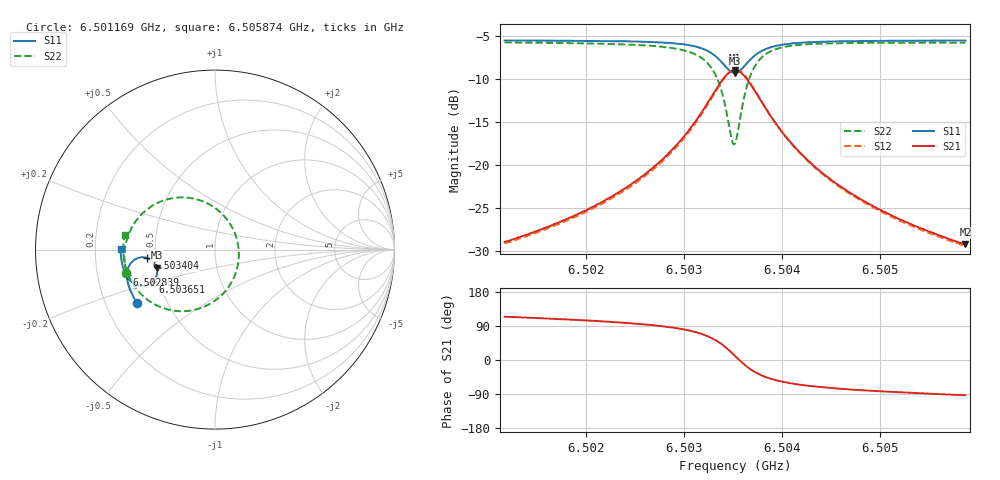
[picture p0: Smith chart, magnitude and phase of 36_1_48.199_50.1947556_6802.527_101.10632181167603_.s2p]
#  HZ  S  RI  R  50.00
! Rohde & Schwarz Vector Network Analyzer
! Rohde-Schwarz,ZNB20-2Port,1311601062101988,3.16
! Created: UTC 3/20/2024, 11:37:39 AM
! freq[Hz]  re:S11  im:S11  re:S21  im:S21  re:S12  im:S12  re:S22  im:S22
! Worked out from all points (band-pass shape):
!   401 points, 6.501169 GHz to 6.505874 GHz, reference 50 ohm
!   highest |S21| = -9.02 dB at 6.503522 GHz (marker M1); lowest = -29.2 dB at 6.505874 GHz (marker M2)
!   |S21| within 3 dB of the highest: 6.503286 GHz to 6.503757 GHz (470.8 kHz wide, 0.00724 % of centre)
!   lowest |S11| = -9.3 dB at 6.503522 GHz (marker M3), VSWR 2.03, Z = 25 - j5.66 ohm
!   |S11| at or under -10 dB: nowhere
!   |S22| runs from -17.6 to -5.8 dB; largest |S21 - S12| = 0.012
!   S11 on the Smith chart (normalised r, x): 6.501169 GHz: 0.34, -0.27; 6.502839 GHz: 0.33, -0.12; 6.503404 GHz: 0.45, -0.05; 6.503651 GHz: 0.46, -0.20; 6.505874 GHz: 0.31, +0.00
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6.5011692e9  -0.4361 -0.2948  -0.0148 0.0327  -0.013 0.0327  -0.4953 -0.1331
6.5019573e9  -0.4685 -0.2346  -0.0137 0.0514  -0.0113 0.0509  -0.5047 -0.0452
6.5023925e9  -0.483 -0.1943  -0.0103 0.0721  -0.00725 0.0708  -0.4989 0.0207
6.5027454e9  -0.4904 -0.1531  -0.000296 0.1034  0.00341 0.1007  -0.4762 0.0973
6.5028395e9  -0.4907 -0.1397  0.00567 0.116  0.00943 0.1129  -0.4631 0.1241
6.5030395e9  -0.4847 -0.105  0.0311 0.1529  0.0345 0.148  -0.4108 0.195
6.5031806e9  -0.4681 -0.0744  0.0728 0.1881  0.0754 0.1818  -0.3293 0.2553
6.50331e9  -0.4302 -0.0473  0.1539 0.2141  0.1543 0.2078  -0.1822 0.2909
6.5034041e9  -0.3815 -0.0454  0.2492 0.1959  0.2491 0.1912  -0.017 0.2435
6.5034864e9  -0.337 -0.0767  0.3301 0.117  0.3327 0.113  0.1122 0.0876
6.5035217e9  -0.3258 -0.1  0.3479 0.0659  0.3519 0.0604  0.1329 -0.00883
6.5035453e9  -0.3228 -0.1172  0.3511 0.0298  0.3554 0.0227  0.1296 -0.0753
6.5035805e9  -0.3253 -0.1423  0.3429 -0.0226  0.3467 -0.0319  0.0995 -0.1683
6.5036511e9  -0.3487 -0.1812  0.2932 -0.1015  0.2933 -0.1137  -0.0173 -0.2959
6.5037452e9  -0.3911 -0.2015  0.2114 -0.146  0.2062 -0.1567  -0.1843 -0.3434
6.5038158e9  -0.4182 -0.2018  0.1617 -0.151  0.1547 -0.1593  -0.2771 -0.3295
6.5038981e9  -0.4422 -0.1944  0.1199 -0.1445  0.1121 -0.1502  -0.3508 -0.2965
6.5040628e9  -0.472 -0.1734  0.07 -0.1223  0.0633 -0.125  -0.4316 -0.2266
6.5043098e9  -0.4951 -0.1421  0.0358 -0.0944  0.0308 -0.095  -0.4806 -0.1464
6.5046745e9  -0.5112 -0.1024  0.0154 -0.0686  0.012 -0.0683  -0.5046 -0.0675
6.5050979e9  -0.5204 -0.0623  0.0056 -0.0517  0.00295 -0.0508  -0.5108 -0.0037
6.5058743e9  -0.526 0.00444  -0.00187 -0.0346  -0.00325 -0.0337  -0.504 0.0824
